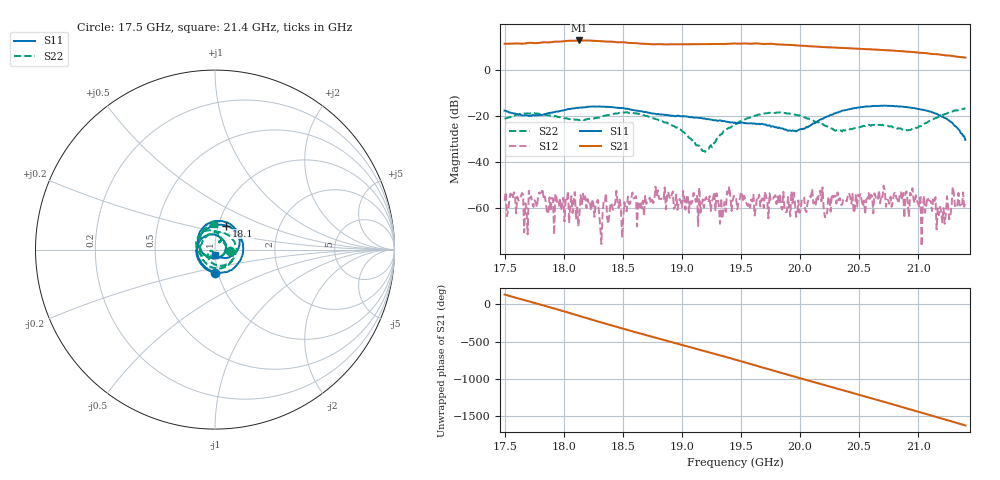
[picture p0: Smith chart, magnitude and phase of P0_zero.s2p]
!Created with skrf (http://scikit-rf.org).
# GHz S RI R 50.0
!freq ReS11 ImS11 ReS21 ImS21 ReS12 ImS12 ReS22 ImS22
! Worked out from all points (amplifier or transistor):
!   401 points, 17.5 GHz to 21.4 GHz, reference 50 ohm
!   highest |S21| = 12.6 dB at 18.13 GHz (marker M1)
!   |S21| within 3 dB of that: start of sweep to 20.27 GHz
!   unconditionally stable (mu >= 1): start of sweep to end of sweep
!   at 18.14 GHz: K = 59.06, MAG = 12.7 dB, |S12| = -54.3 dB
!   at 19.45 GHz: K = 86.03, MAG = 11.3 dB, |S12| = -56.0 dB
!   at 21.4 GHz: K = 219.24, MAG = 5.2 dB, |S12| = -58.2 dB
!   S11 on the Smith chart (normalised r, x): 17.5 GHz: 0.97, -0.25; 18.1 GHz: 1.09, +0.30; 21.4 GHz: 1.00, -0.06
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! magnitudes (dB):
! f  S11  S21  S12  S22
! 17.5 GHz  -17.8  11.1  -56.7  -21.3
! 17.64 GHz  -19.6  11.2  -55.0  -19.2
! 17.68 GHz  -19.7  11.3  -57.8  -19.1
! 17.8 GHz  -19.7  11.6  -53.5  -19.2
! 17.87 GHz  -18.9  11.7  -62.0  -19.8
! 18.1 GHz  -16.6  12.5  -64.8  -21.7
! 18.13 GHz  -16.4  12.6  -62.1  -21.9
! 18.15 GHz  -16.4  12.5  -58.5  -21.6
! 18.32 GHz  -16.1  12.3  -75.3  -20.3
! 18.46 GHz  -16.5  11.8  -56.5  -19.0
! 18.51 GHz  -16.7  11.8  -57.3  -18.6
! 18.59 GHz  -17.5  11.5  -55.6  -18.8
! 18.64 GHz  -18.0  11.2  -59.4  -19.1
! 18.81 GHz  -19.3  10.9  -55.8  -22.0
! 19.19 GHz  -21.2  11.0  -59.7  -35.1
! 19.45 GHz  -22.9  11.2  -56.0  -23.8
! 19.99 GHz  -26.2  10.4  -56.5  -19.8
! 20.1 GHz  -23.6  10.0  -51.6  -21.8
! 20.76 GHz  -15.7  8.3  -58.0  -24.6
! 20.95 GHz  -16.6  7.6  -51.2  -25.5
! 21.21 GHz  -20.7  6.2  -59.8  -19.5
! 21.4 GHz  -30.4  5.2  -58.2  -16.8
